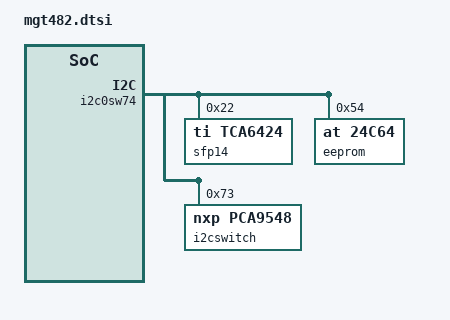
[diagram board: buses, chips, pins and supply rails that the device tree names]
&i2c0sw74 {
	/* hardcoded for MGT482 octal sfp controller */
	i2c@7 {
		#address-cells = <1>;
		#size-cells = <0>;
		reg = <0x7>;
	
		sfp14: gpio@22 {
			compatible="ti,tca6424";
			reg=<0x22>;
		};
		/* eeprom@50 .. the standard address shadows the SFP's, we can't move them, so move the prom to 54 */
		eeprom@50 {
			compatible = "at,24c64";
			reg = <0x54>;
		};
		si570_clk: mgtclk@55 {
			compatible = "silabs,si570";
			reg = <0x55>;
			temperature-stability = <7>;
			factory-fout = <200000000>;
			clock-output-names = "si570_mgt48x";
			status="disabled";
		};
		i2cswitch@73 {
			compatible = "nxp,pca9548";
			#address-cells = <1>;
			#size-cells = <0>;
			reg = <0x73>;
				
			/* 4 sfp's, each with eeprom at 0xa0, control at 0xa2 */					
			sfp_r0: sfp@0 {
				#address-cells = <1>;
				#size-cells = <0>;
				
				reg = <0x0>;				
			};
			sfp_r1: sfp@1 {
				#address-cells = <1>;
				#size-cells = <0>;
				reg = <0x1>;													
			};
			sfp_r2: sfp@2 {
				#address-cells = <1>;
				#size-cells = <0>;
				reg = <0x2>;																				
			};
			sfp_r3: sfp@3 {
				#address-cells = <1>;
				#size-cells = <0>;
				reg = <0x3>;							
			};
			bogus@4 {
				#address-cells = <1>;
				#size-cells = <0>;
				reg = <0x4>;
				eeprom@50 {
					compatible = "at,spd";
					reg = <0x50>;
					read-only;
				};
			};
		};
	};
};
